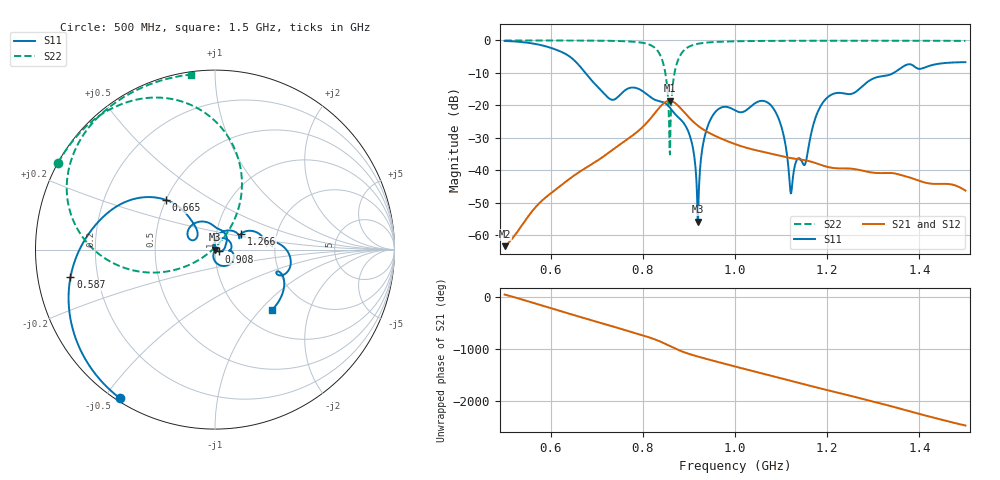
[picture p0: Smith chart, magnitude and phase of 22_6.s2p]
! TOUCHSTONE file generated by CST MICROWAVE STUDIO
! Date and time: Fri Oct  2 18:57:37 2020
! Project name: Scenario_1_Free_Space_out_of_line.cst
! Parameters = {Lambda=346.42; Step_1=17.321; dy1=-16.521; dx1=1039; L_HA=400; MT=2.54; Rad_Dielectric=30; Rad_Lower=7.3; Rad_Upper=30; a_HA=580; a_WG=246; b_HA=500; b_WG=121; c_HA=0; c_WG=187; d_feed=85; h_feed=15; h_lower=18; h_upper=40}
! Header version: 2018
! Port assignment regex: !\s*Touchstone port\s*([0-9]+)\s*=\s*(CST MWS port|CST DS port)\s*([0-9]+|Zmin|Zmax)\s*\(\"(.*)\"\)(\s*mode\s*([0-9]+))?.*
! Touchstone port assignment:
! Touchstone port 1 = CST MWS port 1 ("")
! Touchstone port 2 = CST MWS port 2 ("")
# GHz S DB R 50
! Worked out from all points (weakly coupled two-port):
!   1003 points, 500 MHz to 1.5 GHz, reference 50 ohm
!   highest |S21| = -18.62 dB at 858 MHz (marker M1); lowest = -63.5 dB at 500 MHz (marker M2)
!   lowest |S11| = -55.9 dB at 919 MHz (marker M3), VSWR 1.00, Z = 50.2 + j0.0132 ohm
!   |S11| at or under -10 dB: 675.1 MHz to 1.345 GHz (669.5 MHz wide, 66.3 % of centre)
!   |S22| runs from -35.2 to 0.0 dB; largest |S21 - S12| = 4.6e-05
!   S11 on the Smith chart (normalised r, x): 500 MHz: 0.01, -0.55; 587 MHz: 0.10, -0.09; 665 MHz: 0.50, +0.33; 908 MHz: 1.04, -0.02; 1.266 GHz: 1.31, +0.24; 1.5 GHz: 1.36, -1.16
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0.5  -0.15 -122.6  -63.46 47.0  -63.46 47.0  -0.01 151.1
0.587  -1.73 -169.2  -48.68 178.3  -48.68 178.3  -0.02 145.1
0.665  -8.25 134.5  -40.31 -26.7  -40.31 -26.7  -0.04 138.5
0.667  -8.59 133.5  -40.12 -31.9  -40.12 -31.9  -0.04 138.3
0.73  -18.17 142.9  -34.19 167.0  -34.19 167.0  -0.13 130.7
0.834  -18.66 80.1  -21.04 -121.7  -21.04 -121.7  -3.59 85.5
0.848  -19.33 61.5  -19.09 -176.8  -19.09 -176.8  -9.43 64.3
0.858  -20.61 45.4  -18.62 140.2  -18.62 140.2  -34.10 69.8
0.875  -23.45 25.5  -19.91 70.1  -19.91 70.1  -6.57 -165.7
0.908  -32.69 -26.0  -24.88 -34.2  -24.88 -34.2  -1.45 164.0
0.919  -55.94 4.7  -26.25 -62.6  -26.25 -62.6  -1.04 158.6
0.946  -24.63 75.8  -28.69 -128.0  -28.69 -128.0  -0.57 149.8
1  -21.56 -3.1  -31.96 105.3  -31.96 105.3  -0.27 140.2
1.081  -20.52 -70.4  -35.00 -78.6  -35.00 -78.6  -0.13 131.3
1.103  -27.80 -103.4  -35.74 -128.5  -35.74 -128.5  -0.12 129.4
1.122  -47.02 -34.2  -36.30 -170.9  -36.30 -170.9  -0.11 127.7
1.153  -37.87 60.8  -36.97 118.3  -36.97 118.3  -0.10 125.2
1.167  -27.66 91.5  -37.47 85.4  -37.47 85.4  -0.10 124.1
1.201  -17.53 53.6  -39.02 10.8  -39.02 10.8  -0.09 121.5
1.266  -15.43 31.1  -39.83 -132.9  -39.83 -132.9  -0.09 116.5
1.334  -10.67 8.8  -40.85 73.9  -40.85 73.9  -0.09 111.4
1.5  -6.70 -46.5  -46.29 53.1  -46.27 53.7  -0.14 97.8
